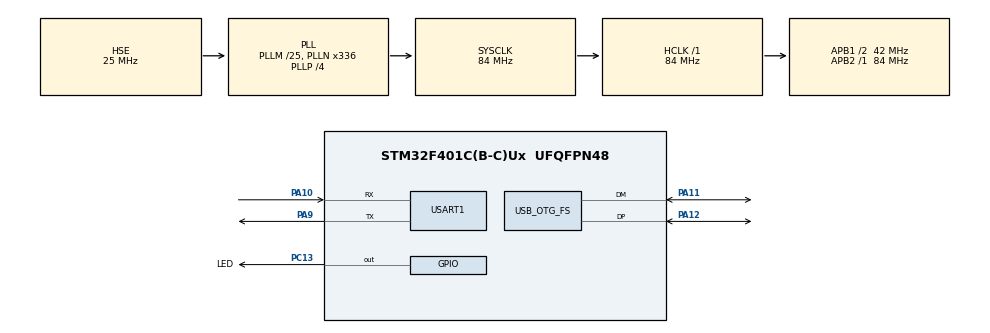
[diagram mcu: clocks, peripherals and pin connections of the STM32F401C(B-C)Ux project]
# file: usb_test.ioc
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Mcu.Family=STM32F4
Mcu.Name=STM32F401C(B-C)Ux
Mcu.Package=UFQFPN48
NVIC.OTG_FS_IRQn=true\:0\:0\:false\:false\:true\:false\:true
NVIC.PriorityGroup=NVIC_PRIORITYGROUP_4
PA10.Mode=Asynchronous
PA10.Signal=USART1_RX
PA11.Mode=Device_Only
PA11.Signal=USB_OTG_FS_DM
PA12.Mode=Device_Only
PA12.Signal=USB_OTG_FS_DP
PA9.Mode=Asynchronous
PA9.Signal=USART1_TX
PC13-ANTI_TAMP.GPIO_Label=LED
PC13-ANTI_TAMP.Signal=GPIO_Output
PC14-OSC32_IN.Mode=LSE-External-Oscillator
PC14-OSC32_IN.Signal=RCC_OSC32_IN
PC15-OSC32_OUT.Mode=LSE-External-Oscillator
PC15-OSC32_OUT.Signal=RCC_OSC32_OUT
PH0\ -\ OSC_IN.Mode=HSE-External-Oscillator
PH0\ -\ OSC_IN.Signal=RCC_OSC_IN
PH1\ -\ OSC_OUT.Mode=HSE-External-Oscillator
PH1\ -\ OSC_OUT.Signal=RCC_OSC_OUT
ProjectManager.HeapSize=0x200
ProjectManager.StackSize=0x400
ProjectManager.TargetToolchain=Makefile
RCC.48MHZClocksFreq_Value=48000000
RCC.AHBFreq_Value=84000000
RCC.APB1CLKDivider=RCC_HCLK_DIV2
RCC.APB1Freq_Value=42000000
RCC.APB1TimFreq_Value=84000000
RCC.APB2Freq_Value=84000000
RCC.APB2TimFreq_Value=84000000
RCC.CortexFreq_Value=84000000
RCC.HCLKFreq_Value=84000000
RCC.HSE_VALUE=25000000
RCC.HSI_VALUE=16000000
RCC.PLLM=25
RCC.PLLN=336
RCC.PLLP=RCC_PLLP_DIV4
RCC.PLLQ=7
RCC.RCC_RTC_Clock_Source=RCC_RTCCLKSOURCE_LSE
RCC.RCC_RTC_Clock_SourceVirtual=RCC_RTCCLKSOURCE_LSE
RCC.SYSCLKFreq_VALUE=84000000
RCC.SYSCLKSource=RCC_SYSCLKSOURCE_PLLCLK
RCC.VCOOutputFreq_Value=336000000
USART1.VirtualMode=VM_ASYNC
USB_DEVICE.CLASS_NAME_FS=CDC
USB_DEVICE.VirtualMode=Cdc
USB_DEVICE.VirtualModeFS=Cdc_FS
USB_OTG_FS.VirtualMode=Device_Only
VP_RTC_VS_RTC_Activate.Mode=RTC_Enabled
VP_USB_DEVICE_VS_USB_DEVICE_CDC_FS.Mode=CDC_FS
board=custom

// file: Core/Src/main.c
/* USER CODE BEGIN Header */
/**
  ******************************************************************************
  * @file           : main.c
  * @brief          : Main program body
  ******************************************************************************
  * @attention
  *
  * <h2><center>&copy; Copyright (c) 2021 STMicroelectronics.
  * All rights reserved.</center></h2>
  *
  * This software component is licensed by ST under Ultimate Liberty license
  * SLA0044, the "License"; You may not use this file except in compliance with
  * the License. You may obtain a copy of the License at:
  *                             www.st.com/SLA0044
  *
  ******************************************************************************
  */
/* USER CODE END Header */
#include "main.h"
#include "usb_device.h"

/* USER CODE BEGIN Includes */
#include <stdio.h>
#include "usbd_bulk_if.h"
#include "unistd.h"
#include "bulk.h"
/* USER CODE END Includes */

/* USER CODE BEGIN PD */
void __libc_init_array(){}

extern volatile int rxEOF;

void Toggle_Leds(void)
{
  static uint32_t ticks;

  if(ticks++ == 500)
    {
      HAL_GPIO_TogglePin(LED_GPIO_Port,LED_Pin);
      ticks = 0;
    }
}
/* USER CODE END PD */

RTC_HandleTypeDef hrtc;

UART_HandleTypeDef huart1;

/* USER CODE BEGIN PV */

#ifdef __GNUC__
int _write(int fd, char *ptr, int len)
{
  HAL_UART_Transmit(&huart1, (uint8_t*)ptr, len, 0xFFFF);
  return len;
}
#endif

/* USER CODE END PV */

void SystemClock_Config(void);
static void MX_GPIO_Init(void);
static void MX_USART1_UART_Init(void);
static void MX_RTC_Init(void);

int main(void)
{

  /* MCU Configuration--------------------------------------------------------*/

  /* Reset of all peripherals, Initializes the Flash interface and the Systick. */
  HAL_Init();

  /* Configure the system clock */
  SystemClock_Config();

  /* Initialize all configured peripherals */
  MX_GPIO_Init();
  MX_USART1_UART_Init();
  MX_RTC_Init();
  MX_USB_DEVICE_Init();
  /* USER CODE BEGIN 2 */
  printf("welcome to a new world! \r\n");
  /* USER CODE END 2 */

  /* Infinite loop */
  /* USER CODE BEGIN WHILE */
  while (1)
  {
    //HAL_UART_Transmit(&huart1,(uint8_t *)&a,1,0xFFFF);
    //printf("welcome to a new world! \r\n");
    //HAL_Delay(1000);
    //HAL_GPIO_WritePin(LED_GPIO_Port, LED_Pin, GPIO_PIN_RESET);
    //HAL_Delay(1000);
    //HAL_GPIO_WritePin(LED_GPIO_Port, LED_Pin, GPIO_PIN_SET);

    uint8_t   buf[256];
    uint32_t  len;
    if ((len = bulk_read(buf, sizeof(buf)))) {
      HAL_GPIO_TogglePin(LED_GPIO_Port,LED_Pin);
	  printf("recv:%s\r\n",buf);
      BULK_Transmit_FS(buf, len);
    } else {
      if (rxEOF) {
  HAL_GPIO_WritePin(LED_GPIO_Port,LED_Pin, 0);
  rxEOF = 0;
  BULK_Transmit_FS(buf, 0);
      }
      //      if (!(len &63))
      //  BULK_Transmit_FS(buf, 0);
    }
    /* USER CODE END WHILE */

  }
}

void SystemClock_Config(void)
{
  RCC_OscInitTypeDef RCC_OscInitStruct = {0};
  RCC_ClkInitTypeDef RCC_ClkInitStruct = {0};

  /** Configure the main internal regulator output voltage
  */
  __HAL_RCC_PWR_CLK_ENABLE();
  __HAL_PWR_VOLTAGESCALING_CONFIG(PWR_REGULATOR_VOLTAGE_SCALE2);
  /** Initializes the RCC Oscillators according to the specified parameters
  * in the RCC_OscInitTypeDef structure.
  */
  RCC_OscInitStruct.OscillatorType = RCC_OSCILLATORTYPE_HSE|RCC_OSCILLATORTYPE_LSE;
  RCC_OscInitStruct.HSEState = RCC_HSE_ON;
  RCC_OscInitStruct.LSEState = RCC_LSE_ON;
  RCC_OscInitStruct.PLL.PLLState = RCC_PLL_ON;
  RCC_OscInitStruct.PLL.PLLSource = RCC_PLLSOURCE_HSE;
  RCC_OscInitStruct.PLL.PLLM = 25;
  RCC_OscInitStruct.PLL.PLLN = 336;
  RCC_OscInitStruct.PLL.PLLP = RCC_PLLP_DIV4;
  RCC_OscInitStruct.PLL.PLLQ = 7;
  if (HAL_RCC_OscConfig(&RCC_OscInitStruct) != HAL_OK)
  {
    Error_Handler();
  }
  /** Initializes the CPU, AHB and APB buses clocks
  */
  RCC_ClkInitStruct.ClockType = RCC_CLOCKTYPE_HCLK|RCC_CLOCKTYPE_SYSCLK
                              |RCC_CLOCKTYPE_PCLK1|RCC_CLOCKTYPE_PCLK2;
  RCC_ClkInitStruct.SYSCLKSource = RCC_SYSCLKSOURCE_PLLCLK;
  RCC_ClkInitStruct.AHBCLKDivider = RCC_SYSCLK_DIV1;
  RCC_ClkInitStruct.APB1CLKDivider = RCC_HCLK_DIV2;
  RCC_ClkInitStruct.APB2CLKDivider = RCC_HCLK_DIV1;

  if (HAL_RCC_ClockConfig(&RCC_ClkInitStruct, FLASH_LATENCY_2) != HAL_OK)
  {
    Error_Handler();
  }
}

static void MX_RTC_Init(void)
{

  /** Initialize RTC Only
  */
  hrtc.Instance = RTC;
  hrtc.Init.HourFormat = RTC_HOURFORMAT_24;
  hrtc.Init.AsynchPrediv = 127;
  hrtc.Init.SynchPrediv = 255;
  hrtc.Init.OutPut = RTC_OUTPUT_DISABLE;
  hrtc.Init.OutPutPolarity = RTC_OUTPUT_POLARITY_HIGH;
  hrtc.Init.OutPutType = RTC_OUTPUT_TYPE_OPENDRAIN;
  if (HAL_RTC_Init(&hrtc) != HAL_OK)
  {
    Error_Handler();
  }

}

static void MX_USART1_UART_Init(void)
{

  huart1.Instance = USART1;
  huart1.Init.BaudRate = 115200;
  huart1.Init.WordLength = UART_WORDLENGTH_8B;
  huart1.Init.StopBits = UART_STOPBITS_1;
  huart1.Init.Parity = UART_PARITY_NONE;
  huart1.Init.Mode = UART_MODE_TX_RX;
  huart1.Init.HwFlowCtl = UART_HWCONTROL_NONE;
  huart1.Init.OverSampling = UART_OVERSAMPLING_16;
  if (HAL_UART_Init(&huart1) != HAL_OK)
  {
    Error_Handler();
  }

}

static void MX_GPIO_Init(void)
{
  GPIO_InitTypeDef GPIO_InitStruct = {0};

  /* GPIO Ports Clock Enable */
  __HAL_RCC_GPIOC_CLK_ENABLE();
  __HAL_RCC_GPIOH_CLK_ENABLE();
  __HAL_RCC_GPIOA_CLK_ENABLE();

  /*Configure GPIO pin Output Level */
  HAL_GPIO_WritePin(LED_GPIO_Port, LED_Pin, GPIO_PIN_RESET);

  /*Configure GPIO pin : LED_Pin */
  GPIO_InitStruct.Pin = LED_Pin;
  GPIO_InitStruct.Mode = GPIO_MODE_OUTPUT_PP;
  GPIO_InitStruct.Pull = GPIO_NOPULL;
  GPIO_InitStruct.Speed = GPIO_SPEED_FREQ_LOW;
  HAL_GPIO_Init(LED_GPIO_Port, &GPIO_InitStruct);

}

void Error_Handler(void)
{
  __disable_irq();
  while (1)
  {
  }
}

/************************ (C) COPYRIGHT STMicroelectronics *****END OF FILE****/
